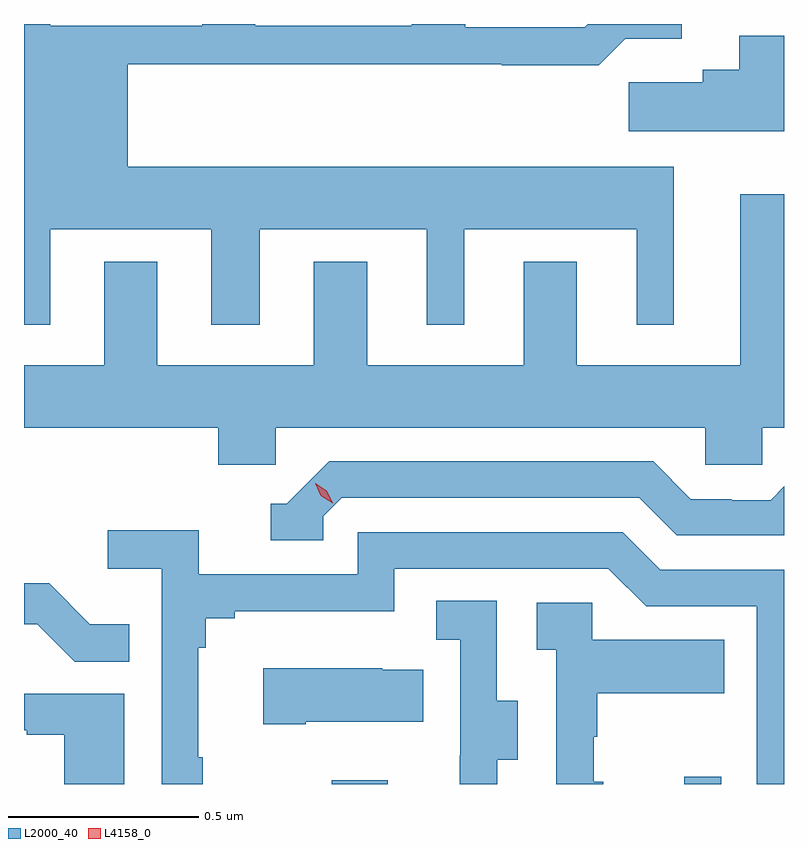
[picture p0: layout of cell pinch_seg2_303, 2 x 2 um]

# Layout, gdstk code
import gdstk
lib = gdstk.Library(unit=1e-6, precision=1e-09)
def R(c, l, rs):  # rectangles x0, y0, x1, y1
    for r in rs: c.add(gdstk.rectangle(r[:2], r[2:], *l))
def P(c, l, *ps):  # polygons
    for p in ps: c.add(gdstk.Polygon(p, *l))
L2000_40 = (2000, 40)
L4158_0 = (4158, 0)

pinch_seg2_303 = lib.new_cell('pinch_seg2_303')
R(pinch_seg2_303, L2000_40, [(946.378,630.714,946.525,630.724), (947.306,630.714,947.403,630.733)])
P(pinch_seg2_303, L2000_40, [(945.637,632.174),(946.061,632.174),(946.061,631.923),(946.189,631.923),(946.189,632.174),(946.628,632.174),(946.628,631.923),(946.726,631.923),(946.726,632.174),(947.18,632.174),(947.18,631.923),(947.278,631.923),(947.278,632.338),(945.841,632.338),(945.841,632.608),(946.825,632.608),(946.825,632.606),(947.081,632.606),(947.15,632.675),(947.299,632.675),(947.299,632.714),(947.051,632.714),(947.043,632.706),(946.729,632.706),(946.729,632.714),(946.589,632.714),(946.589,632.709),(946.177,632.709),(946.177,632.714),(946.037,632.714),(946.037,632.709),(945.637,632.709),(945.637,632.714),(945.568,632.714),(945.568,631.923),(945.637,631.923)],
  [(947.568,632.683),(947.45,632.683),(947.45,632.593),(947.354,632.593),(947.354,632.561),(947.16,632.561),(947.16,632.432),(947.568,632.432)],
  [(946.23,631.652),(947.361,631.652),(947.361,631.554),(947.511,631.554),(947.511,631.652),(947.568,631.652),(947.568,632.266),(947.453,632.266),(947.453,631.816),(947.023,631.816),(947.023,632.089),(946.883,632.089),(946.883,631.816),(946.471,631.816),(946.471,632.089),(946.331,632.089),(946.331,631.816),(945.919,631.816),(945.919,632.089),(945.779,632.089),(945.779,631.816),(945.568,631.816),(945.568,631.652),(946.079,631.652),(946.079,631.554),(946.23,631.554)],
  [(946.356,631.419),(946.404,631.467),(947.187,631.467),(947.286,631.368),(947.568,631.368),(947.568,631.497),(947.533,631.461),(947.43,631.461),(947.43,631.464),(947.323,631.464),(947.224,631.563),(946.371,631.563),(946.26,631.452),(946.217,631.452),(946.217,631.356),(946.356,631.356)],
  [(946.039,630.785),(946.027,630.785),(946.027,631.073),(946.046,631.073),(946.046,631.15),(946.123,631.15),(946.123,631.169),(946.542,631.169),(946.542,631.281),(947.106,631.281),(947.205,631.182),(947.496,631.182),(947.496,630.714),(947.568,630.714),(947.568,631.278),(947.242,631.278),(947.143,631.377),(946.446,631.377),(946.446,631.266),(946.028,631.266),(946.028,631.382),(945.789,631.382),(945.789,631.28),(945.93,631.28),(945.93,630.714),(946.039,630.714)],
  [(945.845,631.135),(945.741,631.135),(945.634,631.242),(945.568,631.242),(945.568,631.134),(945.603,631.134),(945.701,631.036),(945.845,631.036)],
  [(946.813,630.778),(946.867,630.778),(946.867,630.933),(946.812,630.933),(946.812,631.196),(946.653,631.196),(946.653,631.093),(946.716,631.093),(946.716,630.789),(946.715,630.789),(946.715,630.714),(946.813,630.714)],
  [(947.092,630.72),(947.067,630.72),(947.067,630.839),(947.077,630.839),(947.077,630.953),(947.411,630.953),(947.411,631.093),(947.064,631.093),(947.064,631.191),(946.917,631.191),(946.917,631.067),(946.968,631.067),(946.968,630.714),(947.092,630.714)],
  [(946.309,630.878),(946.619,630.878),(946.619,631.015),(946.511,631.015),(946.511,631.018),(946.197,631.018),(946.197,630.871),(946.309,630.871)],
  [(945.832,630.951),(945.568,630.951),(945.568,630.855),(945.575,630.855),(945.575,630.843),(945.674,630.843),(945.674,630.714),(945.832,630.714)])
P(pinch_seg2_303, L4158_0, [(946.38,631.453),(946.349,631.473),(946.334,631.506),(946.334,631.506),(946.334,631.506),(946.365,631.486),(946.38,631.453),(946.38,631.453)])

lib.write_gds('pinch_seg2_303.gds')
